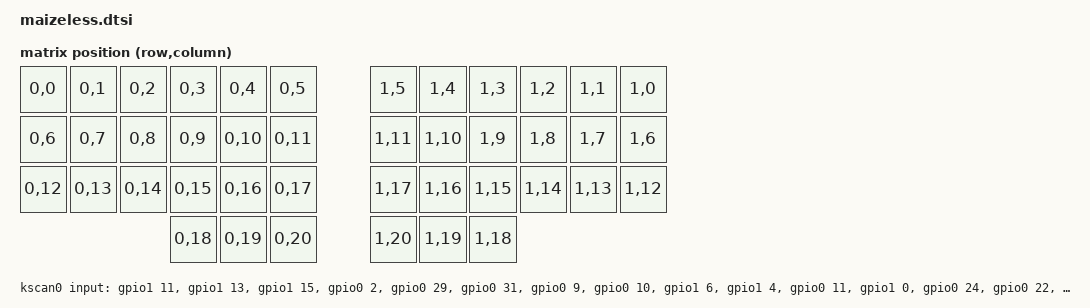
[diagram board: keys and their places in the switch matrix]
/*
 * Copyright (c) 2020 Pete Johanson
 *
 * SPDX-License-Identifier: MIT
 */

#include <dt-bindings/zmk/matrix_transform.h>

/ {
    chosen {
        zmk,kscan = &kscan0;
        zmk,matrix-transform = &default_transform;
    };

    default_transform: keymap_transform_0 {
        compatible = "zmk,matrix-transform";
        columns = <21>;
        rows = <2>;
// | SW1  | SW2  | SW3  | SW4  | SW5  | SW6  |   | SW6  | SW5  | SW4  | SW3  | SW2  | SW1  |
// | SW7  | SW8  | SW9  | SW10 | SW11 | SW12 |   | SW12 | SW11 | SW10 | SW9  | SW8  | SW7  |
// | SW13 | SW14 | SW15 | SW16 | SW17 | SW18 |   | SW18 | SW17 | SW16 | SW15 | SW14 | SW13 |
//                      | SW19 | SW20 | SW21 |   | SW21 | SW20 | SW19 |
// Key position indices:
// 0  1  2  3  4  5  6  7  8  9  10 11
// 12 13 14 15 16 17 18 19 20 21 22 23
// 24 25 26 27 28 29 30 31 32 33 34 35
//          36 37 38 39 40 41

        map = <
RC(0,0)  RC(0,1)  RC(0,2)  RC(0,3)  RC(0,4)  RC(0,5)   RC(1,5)  RC(1,4)  RC(1,3)  RC(1,2)  RC(1,1)  RC(1,0)
RC(0,6)  RC(0,7)  RC(0,8)  RC(0,9)  RC(0,10) RC(0,11)  RC(1,11) RC(1,10) RC(1,9)  RC(1,8)  RC(1,7)  RC(1,6)
RC(0,12) RC(0,13) RC(0,14) RC(0,15) RC(0,16) RC(0,17)  RC(1,17) RC(1,16) RC(1,15) RC(1,14) RC(1,13) RC(1,12)
                           RC(0,18) RC(0,19) RC(0,20)  RC(1,20) RC(1,19) RC(1,18)
        >;
    };

        
    kscan0: kscan {
            compatible = "zmk,kscan-gpio-direct";
            wakeup-source;
            input-gpios
                = <&gpio1 11 (GPIO_ACTIVE_LOW | GPIO_PULL_UP)> // SW1
                , <&gpio1 13 (GPIO_ACTIVE_LOW | GPIO_PULL_UP)> // SW2
                , <&gpio1 15 (GPIO_ACTIVE_LOW | GPIO_PULL_UP)> // SW3
                , <&gpio0  2 (GPIO_ACTIVE_LOW | GPIO_PULL_UP)> // SW4
                , <&gpio0 29 (GPIO_ACTIVE_LOW | GPIO_PULL_UP)> // SW5
                , <&gpio0 31 (GPIO_ACTIVE_LOW | GPIO_PULL_UP)> // SW6

                , <&gpio0  9 (GPIO_ACTIVE_LOW | GPIO_PULL_UP)> // SW7
                , <&gpio0 10 (GPIO_ACTIVE_LOW | GPIO_PULL_UP)> // SW8
                , <&gpio1  6 (GPIO_ACTIVE_LOW | GPIO_PULL_UP)> // SW9
                , <&gpio1  4 (GPIO_ACTIVE_LOW | GPIO_PULL_UP)> // SW10
                , <&gpio0 11 (GPIO_ACTIVE_LOW | GPIO_PULL_UP)> // SW11
                , <&gpio1  0 (GPIO_ACTIVE_LOW | GPIO_PULL_UP)> // SW12

                , <&gpio0 24 (GPIO_ACTIVE_LOW | GPIO_PULL_UP)> // SW13
                , <&gpio0 22 (GPIO_ACTIVE_LOW | GPIO_PULL_UP)> // SW14
                , <&gpio0 20 (GPIO_ACTIVE_LOW | GPIO_PULL_UP)> // SW15
                , <&gpio0 17 (GPIO_ACTIVE_LOW | GPIO_PULL_UP)> // SW16
                , <&gpio0  8 (GPIO_ACTIVE_LOW | GPIO_PULL_UP)> // SW17
                , <&gpio0  6 (GPIO_ACTIVE_LOW | GPIO_PULL_UP)> // SW18

                , <&gpio1  1 (GPIO_ACTIVE_LOW | GPIO_PULL_UP)> // SW19
                , <&gpio1  2 (GPIO_ACTIVE_LOW | GPIO_PULL_UP)> // SW20
                , <&gpio1  7 (GPIO_ACTIVE_LOW | GPIO_PULL_UP)> // SW21
                ;
        };
    pinctrl-names = "default", "sleep";
};
